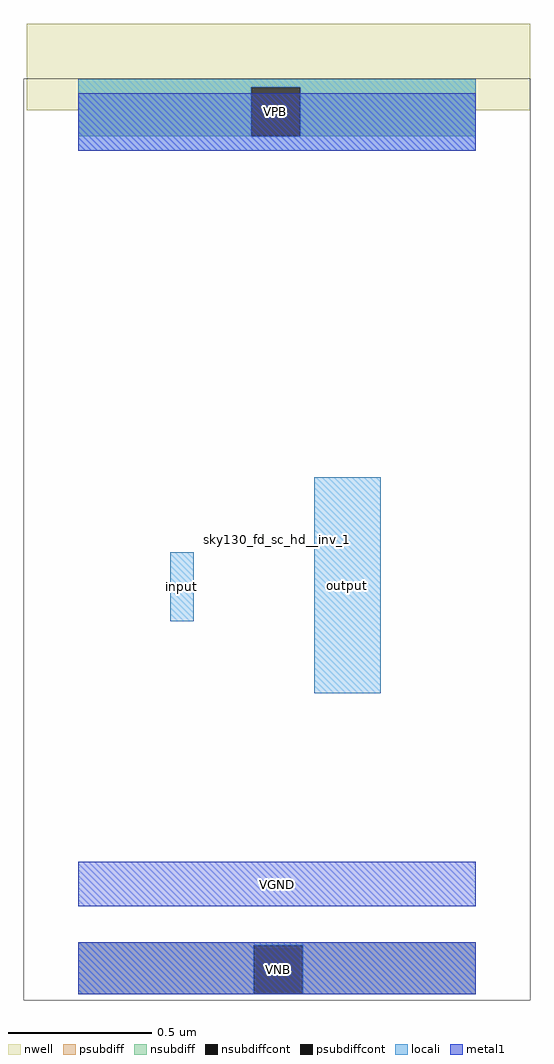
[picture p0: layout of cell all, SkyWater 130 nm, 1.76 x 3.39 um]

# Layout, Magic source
magic
tech sky130A
magscale 1 2
<< nwell >>
rect -36 1170 314 1230
rect 0 1152 276 1170
<< psubdiff >>
rect 0 590 276 592
rect 0 556 122 590
rect 156 556 276 590
<< nsubdiff >>
rect 0 1186 276 1192
rect 0 1152 120 1186
rect 154 1152 276 1186
<< psubdiffcont >>
rect 122 556 156 590
<< nsubdiffcont >>
rect 120 1152 154 1186
<< locali >>
rect 0 1186 276 1192
rect 0 1152 120 1186
rect 154 1152 276 1186
rect 0 1142 276 1152
rect 64 815 80 863
rect 164 765 210 915
rect 0 590 276 592
rect 0 556 122 590
rect 156 556 276 590
<< metal1 >>
rect 0 1142 276 1182
rect 0 617 276 648
rect 0 556 276 592
use sky130_fd_sc_hd__inv_1  x1 $PDKPATH/libs.ref/sky130_fd_sc_hd/mag
transform 1 0 0 0 1 600
box -38 -48 314 592
<< labels >>
flabel nsubdiffcont 120 1152 154 1186 0 FreeSans 160 0 0 0 VPB
port 1 nsew
flabel locali 0 1142 276 1192 0 FreeSans 160 0 0 0 VPWR
port 2 nsew
flabel locali 164 765 210 915 0 FreeSans 160 0 0 0 output
port 4 nsew
flabel metal1 122 556 156 590 0 FreeSans 160 0 0 0 VNB
port 5 nsew
flabel locali 64 815 80 863 0 FreeSans 160 0 0 0 input
port 3 nsew
flabel metal1 0 617 276 648 0 FreeSans 160 0 0 0 VGND
port 9 nsew
<< end >>
